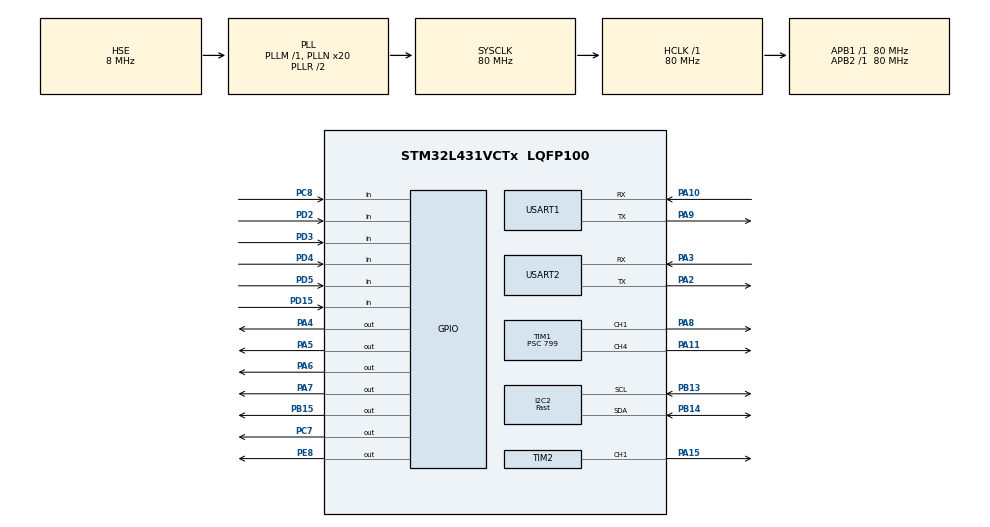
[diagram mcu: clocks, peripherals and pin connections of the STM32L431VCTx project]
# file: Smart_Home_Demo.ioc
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I2C2.I2C_Speed_Mode=I2C_Fast
I2C2.Timing=0x00702991
Mcu.Family=STM32L4
Mcu.Name=STM32L431VCTx
Mcu.Package=LQFP100
NVIC.PriorityGroup=NVIC_PRIORITYGROUP_4
NVIC.USART1_IRQn=true\:0\:0\:false\:false\:true\:true\:true
PA10.Mode=Asynchronous
PA10.Signal=USART1_RX
PA13\ (JTMS-SWDIO).Mode=Serial_Wire
PA13\ (JTMS-SWDIO).Signal=SYS_JTMS-SWDIO
PA14\ (JTCK-SWCLK).Mode=Serial_Wire
PA14\ (JTCK-SWCLK).Signal=SYS_JTCK-SWCLK
PA15\ (JTDI).Signal=S_TIM2_CH1
PA2.Mode=Asynchronous
PA2.Signal=USART2_TX
PA9.Mode=Asynchronous
PA9.Signal=USART1_TX
PA3.Mode=Asynchronous
PA3.Signal=USART2_RX
PA4.PinState=GPIO_PIN_SET
PA4.Signal=GPIO_Output
PA5.PinState=GPIO_PIN_SET
PA5.Signal=GPIO_Output
PA6.PinState=GPIO_PIN_SET
PA6.Signal=GPIO_Output
PA7.PinState=GPIO_PIN_SET
PA7.Signal=GPIO_Output
PA8.Signal=S_TIM1_CH1
PA11.Signal=S_TIM1_CH4
PB13.Mode=I2C
PB13.Signal=I2C2_SCL
PB14.Mode=I2C
PB14.Signal=I2C2_SDA
PB15.PinState=GPIO_PIN_RESET
PB15.Signal=GPIO_Output
PC7.Signal=GPIO_Output
PC8.Signal=GPIO_Input
PD15.Signal=GPIO_Input
PD2.GPIO_PuPd=GPIO_PULLUP
PD2.Signal=GPIO_Input
PD3.GPIO_PuPd=GPIO_PULLUP
PD3.Signal=GPIO_Input
PD4.GPIO_PuPd=GPIO_PULLUP
PD4.Signal=GPIO_Input
PD5.GPIO_PuPd=GPIO_PULLUP
PD5.Signal=GPIO_Input
PE8.Signal=GPIO_Output
PH0-OSC_IN\ (PH0).Mode=HSE-External-Oscillator
PH0-OSC_IN\ (PH0).Signal=RCC_OSC_IN
PH1-OSC_OUT\ (PH1).Mode=HSE-External-Oscillator
PH1-OSC_OUT\ (PH1).Signal=RCC_OSC_OUT
ProjectManager.HeapSize=0x200
ProjectManager.StackSize=0x400
ProjectManager.TargetToolchain=MDK-ARM V5
RCC.ADCFreq_Value=32000000
RCC.AHBFreq_Value=80000000
RCC.APB1Freq_Value=80000000
RCC.APB1TimFreq_Value=80000000
RCC.APB2Freq_Value=80000000
RCC.APB2TimFreq_Value=80000000
RCC.CortexFreq_Value=80000000
RCC.HCLKFreq_Value=80000000
RCC.HSE_VALUE=8000000
RCC.HSI48_VALUE=48000000
RCC.HSI_VALUE=16000000
RCC.LSE_VALUE=32768
RCC.MSI_VALUE=4000000
RCC.PLLN=20
RCC.PLLSourceVirtual=RCC_PLLSOURCE_HSE
RCC.SYSCLKFreq_VALUE=80000000
RCC.SYSCLKSource=RCC_SYSCLKSOURCE_PLLCLK
RCC.VCOOutputFreq_Value=160000000
SH.S_TIM1_CH1.0=TIM1_CH1,PWM Generation1 CH1
SH.S_TIM1_CH4.0=TIM1_CH4,PWM Generation1 CH4
SH.S_TIM2_CH1.0=TIM2_CH1,PWM Generation1 CH1
TIM1.Channel-PWM\ Generation1\ CH1=TIM_CHANNEL_1
TIM1.Channel-PWM\ Generation1\ CH4=TIM_CHANNEL_4
TIM1.Prescaler=799
TIM1.Counter\ Period=1999
TIM1.Pulse=0
TIM2.Channel-PWM\ Generation1\ CH1=TIM_CHANNEL_1
TIM2.Prescaler=799
TIM2.Counter\ Period=1999
TIM2.Pulse=50
USART1.VirtualMode-Asynchronous=VM_ASYNC
USART2.VirtualMode-Asynchronous=VM_ASYNC
VP_TIM1_VS_ClockSourceINT.Mode=Internal
VP_TIM2_VS_ClockSourceINT.Mode=Internal
board=custom

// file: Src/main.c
/* USER CODE BEGIN Header */
/**
  ******************************************************************************
  * @file           : main.c
  * @brief          : Main program body
  ******************************************************************************
  * @attention
  *
  * <h2><center>&copy; Copyright (c) 2026 STMicroelectronics.
  * All rights reserved.</center></h2>
  *
  * This software component is licensed by ST under BSD 3-Clause license,
  * the "License"; You may not use this file except in compliance with the
  * License. You may obtain a copy of the License at:
  *                        opensource.org/licenses/BSD-3-Clause
  *
  ******************************************************************************
  */
/* USER CODE END Header */

#include "main.h"
#include "i2c.h"
#include "tim.h"
#include "usart.h"
#include "gpio.h"

/* USER CODE BEGIN Includes */
#include <stdio.h>
#include "Beep.h"
#include "Light.h"
#include "Fan.h"
#include "Servo.h"
#include "Relay.h"
#include "Smoke.h"
#include "PIR.h"
#include "Key.h"
#include "Led.h"
#include "SHT30.h"
#include "BH1750.h"
#include "esp8285.h"
#include "mqtt.h"
#include "user_config.h"
/* USER CODE END Includes */

/* USER CODE BEGIN PD */
/* ---- 自动控制阈值（带回差，防临界抖动） ---- */
#define LUX_LIGHT_ON     10      /* 光照低于此值开补光灯 */
#define LUX_LIGHT_OFF    50      /* 高于此值关灯（与开灯值构成回差） */
#define TEMP_FAN_ON      30.0f   /* 温度高于此值风扇转 */
#define TEMP_FAN_OFF     28.0f   /* 低于此值风扇停（回差 2 度） */
#define TEMP_RELAY_ON    35.0f   /* 温度过高继电器吸合（二级保护） */
#define TEMP_RELAY_OFF   32.0f   /* 回差 3 度后释放 */
#define PIR_GATE_MS      5000    /* PIR 持续无人多久后落杆 */
#define PRINT_MS         1000    /* 串口状态打印周期 */
/* USER CODE END PD */

/* USER CODE BEGIN PV */
static uint8_t  g_auto = 1;        /* 1 = AUTO 自动模式，0 = MANUAL 手动 */
static uint8_t  g_fan_on = 0;      /* KEY2 手动风扇开关：1 = 开 */
static uint8_t  g_gate_open = 0;   /* 道闸当前状态（软件记账） */
static uint32_t g_pir_last = 0;    /* 最后一次检测到人的时刻 */
static uint32_t g_print_last = 0;
static uint8_t  g_beep_manual = 0;    /* 1 = 蜂鸣器被 KEY1 手动接管 */
static uint8_t  g_smoke_cnt = 0;      /* 烟感连续确认计数 */
static uint32_t g_next_conn = 0;      /* 下一次尝试登录华为云的时刻 */
static uint32_t g_last_cloud = 0;     /* 上一次云端上报的时刻 */
static int8_t   g_lux_zone = -1;   /* 光照区：-1 未定 / 0 暗 / 1 亮 / 2 中间带 */
/* USER CODE END PV */

void SystemClock_Config(void);

/* USER CODE BEGIN 0 */
/* 扫描 I2C 总线：把 0x08~0x77 每个地址问一遍，谁应答就打印谁。
 * 用来排查"传感器找不到"：有地址 = 接线通；一个都没有 = 线/供电有问题 */
static void I2C_Scan(I2C_HandleTypeDef *hi, const char *name)
{
    printf("%s scan:", name);
    for (uint8_t a = 0x08; a < 0x78; a++)
    {
        if (HAL_I2C_IsDeviceReady(hi, (uint16_t)(a << 1), 2, 20) == HAL_OK)
            printf(" 0x%02X", a);
    }
    printf(" done\r\n");
}
/* printf 重定向到 USART2（需勾选 MicroLIB） */
int fputc(int ch, FILE *f)
{
    HAL_UART_Transmit(&huart2, (uint8_t *)&ch, 1, 0xFFFF);
    return ch;
}

/* 道闸统一入口：只在新旧状态不同时才动作，避免反复写 CCR */
static void Gate_Set(uint8_t open)
{
    if (open && !g_gate_open)  { Gate_Open();  g_gate_open = 1; g_pir_last = HAL_GetTick(); }
    if (!open && g_gate_open)  { Gate_Close(); g_gate_open = 0; }
}

/* USER CODE END 0 */

int main(void)
{

  /* MCU Configuration--------------------------------------------------------*/

  /* Reset of all peripherals, Initializes the Flash interface and the Systick. */
  HAL_Init();

  /* Configure the system clock */
  SystemClock_Config();

  /* Initialize all configured peripherals */
  MX_GPIO_Init();
  MX_USART1_UART_Init();
  MX_I2C2_Init();
  MX_USART2_UART_Init();
  MX_TIM1_Init();
  MX_TIM2_Init();
  /* USER CODE BEGIN 2 */
  printf("\r\n===== Smart Home Demo (STM32L431) =====\r\n");
  Fan_Init();          /* 启动风扇 PWM，0% */
  Servo_Init();        /* 启动舵机 PWM，0 度关闸 */
  g_gate_open = 0;
  if (BH1750_Init() != 0)
  {
      printf("BH1750 not found, Lux disabled\r\n");
      I2C_Scan(&hi2c2, "I2C2");   /* 应该同时看到 0x44(SHT30) 和 0x5C(BH1750) */
  }
  Smoke_Init();        /* PD15 上拉输入，防浮空误报 */
  Led_All(0);
  Relay_Off();
  Beep_Off();
  Light_Off();

  /*
   * 连 WiFi 并登录华为云（IoTDA，上海一）。
   * WiFi 与华为云连接参数在 Inc/user_config.h（模板见 Inc/user_config_example.h）。
   * ESP_Init 里 WiFi 连接失败不会死等，MQTT 登录失败由主循环 15 秒后重试。
   */
  ESP_Init(WIFI_SSID, WIFI_PASSWORD);
  if (!MQTT_ConnectHuawei())
  {
      printf("retry Huawei in 15s\r\n");
      g_next_conn = HAL_GetTick() + 15000;
  }
  printf("init done. KEY4 = switch AUTO/MANUAL\r\n");
  /* USER CODE END 2 */

  /* Infinite loop */
  /* USER CODE BEGIN WHILE */
  while (1)
  {
    /* ============ 0. 云端层：收日志、执行云端命令、掉线重连 ============ */
    ESP_PollLog();
    MQTT_PollCommand();
    if (cloud_light_req >= 0) { if (cloud_light_req) Light_On(); else Light_Off(); cloud_light_req = -1; }
    if (cloud_motor_req >= 0) { g_fan_on = (cloud_motor_req != 0); if (g_fan_on) Fan_On(); else Fan_Off(); cloud_motor_req = -1; }
    if (cloud_servo_req >= 0) { Gate_Set(cloud_servo_req ? 1 : 0); cloud_servo_req = -1; }
    if (cloud_beep_req  >= 0) { g_beep_manual = 1; if (cloud_beep_req) Beep_On(); else Beep_Off(); cloud_beep_req = -1; }
    if (cloud_mode_req  >= 0)
    {
        g_auto = (cloud_mode_req != 0);
        g_beep_manual = 0;
        if (!g_auto) { g_fan_on = 0; Fan_Off(); }
        printf("[MODE] -> %s\r\n", g_auto ? "AUTO" : "MANUAL");
        cloud_mode_req = -1;
    }
    if (!MQTT_IsConnected() && HAL_GetTick() >= g_next_conn)
    {
        if (!MQTT_ConnectHuawei())
        {
            printf("retry Huawei in 15s\r\n");
            g_next_conn = HAL_GetTick() + 15000;
        }
    }

    /* ============ 1. 按键层（手动控制，两种模式下都响应） ============ */
    if (Key4_Pressed())
    {
        g_auto = !g_auto;
        g_beep_manual = 0;    /* 切模式时把手动接管还回去 */
        printf("[MODE] -> %s\r\n", g_auto ? "AUTO" : "MANUAL");
        if (!g_auto) { g_fan_on = 0; Fan_Off(); }   /* 进手动模式先把风扇停 */
    }
    if (Key1_Pressed())
    {
        g_beep_manual = 1;    /* 手动接管蜂鸣器，烟雾逻辑不再每圈覆盖 */
        Beep_Turn();
        printf("[KEY1] beep %s\r\n", Beep_IsOn() ? "ON" : "OFF");
    }
    if (Key2_Pressed())
    {
        g_fan_on = !g_fan_on;
        if (g_fan_on) Fan_On(); else Fan_Off();
        printf("[KEY2] fan %s\r\n", g_fan_on ? "ON" : "OFF");
    }
    if (Key3_Pressed())
    {
        Gate_Set(!g_gate_open);
        printf("[KEY3] gate %s\r\n", g_gate_open ? "OPEN" : "CLOSE");
    }

    /* ============ 2. 传感器采集 ============ */
    float t = 0.0f, h = 0.0f;
    uint16_t lux = 0;
    uint8_t ok_t = SHT30_Read(&t, &h);      /* 0 = 成功 */
    uint8_t ok_l = BH1750_Read(&lux);       /* 0 = 成功 */
    uint8_t smoke_raw = Smoke_Detected();
    uint8_t smoke = 0;
    uint8_t pir   = PIR_Detected();

    /* 烟感去抖：连续 2 圈（约 60ms）都报有气才算，滤掉 LM393 上的一次毛刺 */
    if (smoke_raw) { if (g_smoke_cnt < 3) g_smoke_cnt++; }
    else           { g_smoke_cnt = 0; }
    smoke = (g_smoke_cnt >= 2) ? 1 : 0;
    /* ============ 3. 烟雾联动（最高优先级，两种模式都生效） ============ */
    /* 烟感触发：蜂鸣器报警 + 风扇全速排风 + 道闸打开放行 */
    if (smoke)
    {
        g_beep_manual = 0;    /* 报警优先，清掉手动状态 */
        Beep_On();
        Fan_On();
    }
    else
    {
        if (!g_beep_manual) Beep_Off();   /* 手动开的就一直响 */
        if (!g_auto) { if (g_fan_on) Fan_On(); else Fan_Off(); }  /* 手动模式听 KEY2 的 */
    }

    /* ============ 4. 自动层（仅 AUTO 模式） ============ */
    if (g_auto)
    {
        /* 温度 -> 风扇调速（回差：>=30 开 60%，<=28 关） */
        if (ok_t == 0)
        {
            if (t >= TEMP_FAN_ON)       Fan_On();
            else if (t <= TEMP_FAN_OFF) Fan_Off();
            /* 28~30 之间：保持现状，防止临界点来回开关 */
        }
        /* 温度 -> 继电器（二级保护：>=35 吸合，<=32 释放） */
        if (ok_t == 0)
        {
            if (t >= TEMP_RELAY_ON)       Relay_On();
            else if (t <= TEMP_RELAY_OFF) Relay_Off();
        }
        /* 光照 -> 补光灯：只在"跨过阈值"的那一刻动作，之后不再每圈强写
         * 这样按 KEY1 手动开关后不会被自动规则立刻改回去 */
        if (ok_l == 0)
        {
            int8_t zone;
            if      (lux <= LUX_LIGHT_ON)  zone = 0;    /* 暗 */
            else if (lux >= LUX_LIGHT_OFF) zone = 1;    /* 亮 */
            else                           zone = 2;    /* 中间带：保持现状 */

            if (zone != g_lux_zone)
            {
                if      (zone == 0) Light_On();
                else if (zone == 1) Light_Off();
                g_lux_zone = zone;
            }
        }
        /* PIR -> 门禁道闸：有人抬杆，持续 5 秒无人落杆 */
        if (pir)
        {
            g_pir_last = HAL_GetTick();
            Gate_Set(1);
        }
        else if (g_gate_open && (HAL_GetTick() - g_pir_last > PIR_GATE_MS))
        {
            Gate_Set(0);
        }
    }

    /* ============ 5. LED 状态指示 ============ */
    if (g_auto) Led_Off(1); else Led_On(1);   /* LED1：亮 = MANUAL */
    if (smoke)  Led_On(2);  else Led_Off(2);  /* LED2：烟雾报警 */
    if (pir)    Led_On(3);  else Led_Off(3);  /* LED3：检测到人 */
    /* LED4 空闲，留给以后扩展 */

    /* ============ 6. 串口状态打印（每 1 秒一行） ============ */
    if (HAL_GetTick() - g_print_last >= PRINT_MS)
    {
        g_print_last = HAL_GetTick();
        if (ok_t == 0 && ok_l == 0)
            printf("T=%.1fC H=%.1f%% Lux=%4u Smoke=%d PIR=%d %s Fan=%s Gate=%s up=%lus\r\n",
                   t, h, lux, smoke, pir,
                   g_auto ? "AUTO" : "MANUAL",
                   Fan_IsOn() ? "ON" : "OFF",
                   g_gate_open ? "OPEN" : "CLOSE", (unsigned long)(HAL_GetTick() / 1000));
        else if (ok_t == 0)
            printf("T=%.1fC H=%.1f%% Lux=---- Smoke=%d PIR=%d %s Fan=%s Gate=%s up=%lus\r\n",
                   t, h, smoke, pir,
                   g_auto ? "AUTO" : "MANUAL",
                   Fan_IsOn() ? "ON" : "OFF",
                   g_gate_open ? "OPEN" : "CLOSE", (unsigned long)(HAL_GetTick() / 1000));
        else
            printf("sensor err t=%d lux=%d Smoke=%d PIR=%d %s\r\n",
                   ok_t, ok_l, smoke, pir, g_auto ? "AUTO" : "MANUAL");
    }

    /* ============ 7. 云端上报（每 3 秒一次，查询类命令会触发立刻上报） ============ */
    if (MQTT_IsConnected() && (HAL_GetTick() - g_last_cloud >= 500 || cloud_report_req))
    {
        Cloud_Report r;

        cloud_report_req = 0;
        r.temp = (ok_t == 0) ? t : 0.0f;
        r.humi = (ok_t == 0) ? h : 0.0f;
        r.lux  = (ok_l == 0) ? (int)lux : 0;
        r.light = Light_IsOn();
        r.motor = Fan_IsOn();
        r.servo = g_gate_open;
        r.beep = Beep_IsOn();
        r.auto_mode = g_auto;
        r.smoke = smoke;
        r.pir = pir;
        MQTT_ReportState(&r);
        g_last_cloud = HAL_GetTick();
    }

    HAL_Delay(10);   /* 主循环节拍约 30~40ms（SHT30 内部有 20ms 等待） */
  }
  /* USER CODE END 3 */
}

void SystemClock_Config(void)
{
  RCC_OscInitTypeDef RCC_OscInitStruct = {0};
  RCC_ClkInitTypeDef RCC_ClkInitStruct = {0};
  RCC_PeriphCLKInitTypeDef PeriphClkInit = {0};

  /** Initializes the CPU, AHB and APB busses clocks
  */
  RCC_OscInitStruct.OscillatorType = RCC_OSCILLATORTYPE_HSE;
  RCC_OscInitStruct.HSEState = RCC_HSE_ON;
  RCC_OscInitStruct.PLL.PLLState = RCC_PLL_ON;
  RCC_OscInitStruct.PLL.PLLSource = RCC_PLLSOURCE_HSE;
  RCC_OscInitStruct.PLL.PLLM = 1;
  RCC_OscInitStruct.PLL.PLLN = 20;
  RCC_OscInitStruct.PLL.PLLP = RCC_PLLP_DIV7;
  RCC_OscInitStruct.PLL.PLLQ = RCC_PLLQ_DIV2;
  RCC_OscInitStruct.PLL.PLLR = RCC_PLLR_DIV2;
  if (HAL_RCC_OscConfig(&RCC_OscInitStruct) != HAL_OK)
  {
    Error_Handler();
  }
  /** Initializes the CPU, AHB and APB busses clocks
  */
  RCC_ClkInitStruct.ClockType = RCC_CLOCKTYPE_HCLK|RCC_CLOCKTYPE_SYSCLK
                              |RCC_CLOCKTYPE_PCLK1|RCC_CLOCKTYPE_PCLK2;
  RCC_ClkInitStruct.SYSCLKSource = RCC_SYSCLKSOURCE_PLLCLK;
  RCC_ClkInitStruct.AHBCLKDivider = RCC_SYSCLK_DIV1;
  RCC_ClkInitStruct.APB1CLKDivider = RCC_HCLK_DIV1;
  RCC_ClkInitStruct.APB2CLKDivider = RCC_HCLK_DIV1;

  if (HAL_RCC_ClockConfig(&RCC_ClkInitStruct, FLASH_LATENCY_4) != HAL_OK)
  {
    Error_Handler();
  }
  PeriphClkInit.PeriphClockSelection = RCC_PERIPHCLK_USART2|RCC_PERIPHCLK_I2C2;
  PeriphClkInit.Usart2ClockSelection = RCC_USART2CLKSOURCE_PCLK1;
  PeriphClkInit.I2c2ClockSelection = RCC_I2C2CLKSOURCE_PCLK1;
  if (HAL_RCCEx_PeriphCLKConfig(&PeriphClkInit) != HAL_OK)
  {
    Error_Handler();
  }
  /** Configure the main internal regulator output voltage
  */
  if (HAL_PWREx_ControlVoltageScaling(PWR_REGULATOR_VOLTAGE_SCALE1) != HAL_OK)
  {
    Error_Handler();
  }
}

void Error_Handler(void)
{
  /* USER CODE BEGIN Error_Handler_Debug */
  /* 蜂鸣器哒哒响 = 初始化失败（最常见：HSE 时钟没起来）。死循环停在这里 */
  while (1)
  {
    HAL_GPIO_TogglePin(GPIOE, GPIO_PIN_8);
    HAL_Delay(200);
  }
  /* USER CODE END Error_Handler_Debug */
}

/************************ (C) COPYRIGHT STMicroelectronics *****END OF FILE****/
